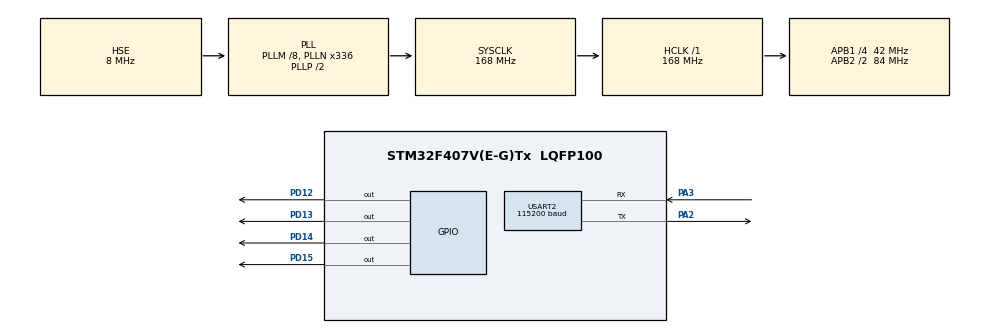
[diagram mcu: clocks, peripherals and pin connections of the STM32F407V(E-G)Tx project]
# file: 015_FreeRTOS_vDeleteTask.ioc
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FREERTOS.Tasks01=defaultTask,24,128,StartDefaultTask,Default,NULL,Dynamic,NULL,NULL
Mcu.Family=STM32F4
Mcu.Name=STM32F407V(E-G)Tx
Mcu.Package=LQFP100
NVIC.PriorityGroup=NVIC_PRIORITYGROUP_4
NVIC.TIM8_TRG_COM_TIM14_IRQn=true\:15\:0\:false\:false\:true\:false\:false\:true\:true
NVIC.TimeBase=TIM8_TRG_COM_TIM14_IRQn
NVIC.TimeBaseIP=TIM14
NVIC.USART2_IRQn=true\:5\:0\:false\:false\:true\:true\:true\:true\:true
PA2.Mode=Asynchronous
PA2.Signal=USART2_TX
PA3.Mode=Asynchronous
PA3.Signal=USART2_RX
PD12.Signal=GPIO_Output
PD13.Signal=GPIO_Output
PD14.Signal=GPIO_Output
PD15.Signal=GPIO_Output
PH0-OSC_IN.Mode=HSE-External-Oscillator
PH0-OSC_IN.Signal=RCC_OSC_IN
PH1-OSC_OUT.Mode=HSE-External-Oscillator
PH1-OSC_OUT.Signal=RCC_OSC_OUT
ProjectManager.HeapSize=0x200
ProjectManager.StackSize=0x400
ProjectManager.TargetToolchain=STM32CubeIDE
RCC.48MHZClocksFreq_Value=48000000
RCC.AHBFreq_Value=168000000
RCC.APB1CLKDivider=RCC_HCLK_DIV4
RCC.APB1Freq_Value=42000000
RCC.APB1TimFreq_Value=84000000
RCC.APB2CLKDivider=RCC_HCLK_DIV2
RCC.APB2Freq_Value=84000000
RCC.APB2TimFreq_Value=168000000
RCC.CortexFreq_Value=168000000
RCC.HCLKFreq_Value=168000000
RCC.HSE_VALUE=8000000
RCC.HSI_VALUE=16000000
RCC.LSE_VALUE=32768
RCC.PLLM=8
RCC.PLLN=336
RCC.PLLQ=7
RCC.PLLSourceVirtual=RCC_PLLSOURCE_HSE
RCC.SYSCLKFreq_VALUE=168000000
RCC.SYSCLKSource=RCC_SYSCLKSOURCE_PLLCLK
RCC.VCOOutputFreq_Value=336000000
USART2.BaudRate=115200
USART2.VirtualMode=VM_ASYNC
VP_FREERTOS_VS_CMSIS_V2.Mode=CMSIS_V2
VP_SYS_VS_tim14.Mode=TIM14
board=STM32F407G-DISC1

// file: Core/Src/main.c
/* USER CODE BEGIN Header */
/**
  ******************************************************************************
  * @file           : main.c
  * @brief          : Main program body
  ******************************************************************************
  * @attention
  *
  * Copyright (c) 2023 STMicroelectronics.
  * All rights reserved.
  *
  * This software is licensed under terms that can be found in the LICENSE file
  * in the root directory of this software component.
  * If no LICENSE file comes with this software, it is provided AS-IS.
  *
  ******************************************************************************
  */
/* USER CODE END Header */
#include "main.h"

/* USER CODE BEGIN Includes */
#include "FreeRTOS.h"
#include <string.h>
#include "task.h"
/* USER CODE END Includes */

UART_HandleTypeDef huart2;

/* Definitions for defaultTask */
/* USER CODE BEGIN PV */
TaskHandle_t xTask2Handle = NULL;
/* USER CODE END PV */

void SystemClock_Config(void);
static void MX_GPIO_Init(void);
static void MX_USART2_UART_Init(void);
void StartDefaultTask(void *argument);

/* USER CODE BEGIN 0 */
void vTask2(void *pvParameters)
{
	char const *msgTsk2 = "Task 2 is running and about to delete itself\r\n";
	HAL_UART_Transmit(&huart2, (uint8_t *)msgTsk2, strlen(msgTsk2), HAL_MAX_DELAY);
	vTaskDelete((TaskHandle_t)xTask2Handle);
	//vTaskDelete(NULL);
}
void vTask1(void *pvParameters)
{
	const TickType_t xDelay100ms = pdMS_TO_TICKS(100UL);
	const char *msgTsk1 = "Task 1 is running\r\n";
	for(;;)
	{
		HAL_UART_Transmit(&huart2,(uint8_t *)msgTsk1, strlen(msgTsk1), HAL_MAX_DELAY);
		xTaskCreate(vTask2, "Task2", 1000, NULL, 2, &xTask2Handle);

		vTaskDelay(xDelay100ms);
	}
}

/* USER CODE END 0 */

int main(void)
{

  /* MCU Configuration--------------------------------------------------------*/

  /* Reset of all peripherals, Initializes the Flash interface and the Systick. */
  HAL_Init();

  /* Configure the system clock */
  SystemClock_Config();

  /* Initialize all configured peripherals */
  MX_GPIO_Init();
  MX_USART2_UART_Init();
  /* USER CODE BEGIN 2 */
  xTaskCreate(vTask1, "Task 1", 1000, NULL, 1, NULL);
  vTaskStartScheduler();
  /* USER CODE END 2 */

  /* Init scheduler */

  /* Create the thread(s) */
  /* creation of defaultTask */

  /* Start scheduler */
  /* We should never get here as control is now taken by the scheduler */
  /* Infinite loop */
  while (1)
  {

  }
}

void SystemClock_Config(void)
{
  RCC_OscInitTypeDef RCC_OscInitStruct = {0};
  RCC_ClkInitTypeDef RCC_ClkInitStruct = {0};

  /** Configure the main internal regulator output voltage
  */
  __HAL_RCC_PWR_CLK_ENABLE();
  __HAL_PWR_VOLTAGESCALING_CONFIG(PWR_REGULATOR_VOLTAGE_SCALE1);

  /** Initializes the RCC Oscillators according to the specified parameters
  * in the RCC_OscInitTypeDef structure.
  */
  RCC_OscInitStruct.OscillatorType = RCC_OSCILLATORTYPE_HSE;
  RCC_OscInitStruct.HSEState = RCC_HSE_ON;
  RCC_OscInitStruct.PLL.PLLState = RCC_PLL_ON;
  RCC_OscInitStruct.PLL.PLLSource = RCC_PLLSOURCE_HSE;
  RCC_OscInitStruct.PLL.PLLM = 8;
  RCC_OscInitStruct.PLL.PLLN = 336;
  RCC_OscInitStruct.PLL.PLLP = RCC_PLLP_DIV2;
  RCC_OscInitStruct.PLL.PLLQ = 7;
  if (HAL_RCC_OscConfig(&RCC_OscInitStruct) != HAL_OK)
  {
    Error_Handler();
  }

  /** Initializes the CPU, AHB and APB buses clocks
  */
  RCC_ClkInitStruct.ClockType = RCC_CLOCKTYPE_HCLK|RCC_CLOCKTYPE_SYSCLK
                              |RCC_CLOCKTYPE_PCLK1|RCC_CLOCKTYPE_PCLK2;
  RCC_ClkInitStruct.SYSCLKSource = RCC_SYSCLKSOURCE_PLLCLK;
  RCC_ClkInitStruct.AHBCLKDivider = RCC_SYSCLK_DIV1;
  RCC_ClkInitStruct.APB1CLKDivider = RCC_HCLK_DIV4;
  RCC_ClkInitStruct.APB2CLKDivider = RCC_HCLK_DIV2;

  if (HAL_RCC_ClockConfig(&RCC_ClkInitStruct, FLASH_LATENCY_5) != HAL_OK)
  {
    Error_Handler();
  }
}

static void MX_USART2_UART_Init(void)
{

  huart2.Instance = USART2;
  huart2.Init.BaudRate = 115200;
  huart2.Init.WordLength = UART_WORDLENGTH_8B;
  huart2.Init.StopBits = UART_STOPBITS_1;
  huart2.Init.Parity = UART_PARITY_NONE;
  huart2.Init.Mode = UART_MODE_TX_RX;
  huart2.Init.HwFlowCtl = UART_HWCONTROL_NONE;
  huart2.Init.OverSampling = UART_OVERSAMPLING_16;
  if (HAL_UART_Init(&huart2) != HAL_OK)
  {
    Error_Handler();
  }

}

static void MX_GPIO_Init(void)
{
  GPIO_InitTypeDef GPIO_InitStruct = {0};

  /* GPIO Ports Clock Enable */
  __HAL_RCC_GPIOH_CLK_ENABLE();
  __HAL_RCC_GPIOA_CLK_ENABLE();
  __HAL_RCC_GPIOD_CLK_ENABLE();

  /*Configure GPIO pin Output Level */
  HAL_GPIO_WritePin(GPIOD, GPIO_PIN_12|GPIO_PIN_13|GPIO_PIN_14|GPIO_PIN_15, GPIO_PIN_RESET);

  /*Configure GPIO pins : PD12 PD13 PD14 PD15 */
  GPIO_InitStruct.Pin = GPIO_PIN_12|GPIO_PIN_13|GPIO_PIN_14|GPIO_PIN_15;
  GPIO_InitStruct.Mode = GPIO_MODE_OUTPUT_PP;
  GPIO_InitStruct.Pull = GPIO_NOPULL;
  GPIO_InitStruct.Speed = GPIO_SPEED_FREQ_LOW;
  HAL_GPIO_Init(GPIOD, &GPIO_InitStruct);

}

void HAL_TIM_PeriodElapsedCallback(TIM_HandleTypeDef *htim)
{
  if (htim->Instance == TIM14) {
    HAL_IncTick();
  }
}

void Error_Handler(void)
{
  __disable_irq();
  while (1)
  {
  }
}
